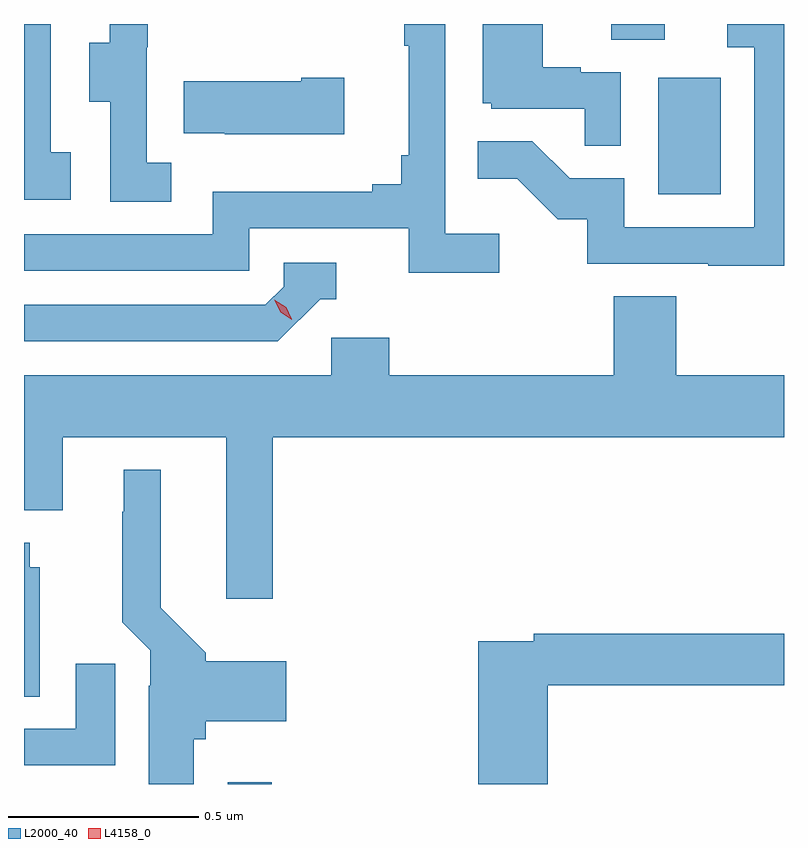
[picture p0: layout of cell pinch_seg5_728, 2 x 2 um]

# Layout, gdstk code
import gdstk
lib = gdstk.Library(unit=1e-6, precision=1e-09)
def R(c, l, rs):  # rectangles x0, y0, x1, y1
    for r in rs: c.add(gdstk.rectangle(r[:2], r[2:], *l))
def P(c, l, *ps):  # polygons
    for p in ps: c.add(gdstk.Polygon(p, *l))
L2000_40 = (2000, 40)
L4158_0 = (4158, 0)

pinch_seg5_728 = lib.new_cell('pinch_seg5_728')
R(pinch_seg5_728, L2000_40, [(1080.867,851.852,1080.983,851.857), (1082,853.404,1082.164,853.711), (1081.877,853.81,1082.017,853.852)])
P(pinch_seg5_728, L2000_40, [(1082.331,853.852),(1082.181,853.852),(1082.181,853.791),(1082.253,853.791),(1082.253,853.317),(1081.911,853.317),(1081.911,853.446),(1081.767,853.446),(1081.669,853.544),(1081.525,853.544),(1081.525,853.445),(1081.629,853.445),(1081.736,853.338),(1081.813,853.338),(1081.813,853.221),(1082.131,853.221),(1082.131,853.216),(1082.331,853.216)],
  [(1081.582,853.3),(1081.44,853.3),(1081.44,853.852),(1081.332,853.852),(1081.332,853.795),(1081.343,853.795),(1081.343,853.507),(1081.324,853.507),(1081.324,853.43),(1081.247,853.43),(1081.247,853.411),(1080.828,853.411),(1080.828,853.299),(1080.331,853.299),(1080.331,853.203),(1080.924,853.203),(1080.924,853.314),(1081.343,853.314),(1081.343,853.198),(1081.582,853.198)],
  [(1080.718,853.487),(1080.654,853.487),(1080.654,853.791),(1080.656,853.791),(1080.656,853.852),(1080.557,853.852),(1080.557,853.803),(1080.503,853.803),(1080.503,853.648),(1080.558,853.648),(1080.558,853.384),(1080.718,853.384)],
  [(1080.454,853.514),(1080.402,853.514),(1080.402,853.852),(1080.331,853.852),(1080.331,853.389),(1080.454,853.389)],
  [(1081.902,853.725),(1081.796,853.725),(1081.796,853.738),(1081.696,853.738),(1081.696,853.852),(1081.538,853.852),(1081.538,853.644),(1081.56,853.644),(1081.56,853.629),(1081.807,853.629),(1081.807,853.531),(1081.902,853.531)],
  [(1081.174,853.71),(1081.061,853.71),(1081.061,853.702),(1080.751,853.702),(1080.751,853.565),(1080.859,853.565),(1080.859,853.562),(1081.174,853.562)],
  [(1081.11,853.128),(1081.153,853.128),(1081.153,853.224),(1081.014,853.224),(1081.014,853.161),(1080.966,853.113),(1080.331,853.113),(1080.331,853.017),(1080.999,853.017)],
  [(1080.986,852.764),(1082.331,852.764),(1082.331,852.928),(1082.048,852.928),(1082.048,853.136),(1081.883,853.136),(1081.883,852.928),(1081.292,852.928),(1081.292,853.026),(1081.14,853.026),(1081.14,852.928),(1080.331,852.928),(1080.331,852.572),(1080.433,852.572),(1080.433,852.764),(1080.863,852.764),(1080.863,852.339),(1080.986,852.339)],
  [(1080.778,851.97),(1080.809,851.97),(1080.809,852.017),(1081.021,852.017),(1081.021,852.175),(1080.809,852.175),(1080.809,852.198),(1080.691,852.316),(1080.691,852.679),(1080.593,852.679),(1080.593,852.569),(1080.589,852.569),(1080.589,852.278),(1080.663,852.204),(1080.663,852.11),(1080.659,852.11),(1080.659,851.852),(1080.778,851.852)],
  [(1080.373,852.423),(1080.346,852.423),(1080.346,852.487),(1080.331,852.487),(1080.331,852.082),(1080.373,852.082)],
  [(1081.709,852.112),(1082.331,852.112),(1082.331,852.248),(1081.672,852.248),(1081.672,852.228),(1081.526,852.228),(1081.526,851.852),(1081.709,851.852)],
  [(1080.571,852.169),(1080.467,852.169),(1080.467,851.997),(1080.331,851.997),(1080.331,851.901),(1080.571,851.901)])
P(pinch_seg5_728, L4158_0, [(1081.036,853.074),(1081.006,853.094),(1080.99,853.127),(1080.99,853.127),(1080.99,853.127),(1081.021,853.107),(1081.036,853.075),(1081.036,853.074)])

lib.write_gds('pinch_seg5_728.gds')
